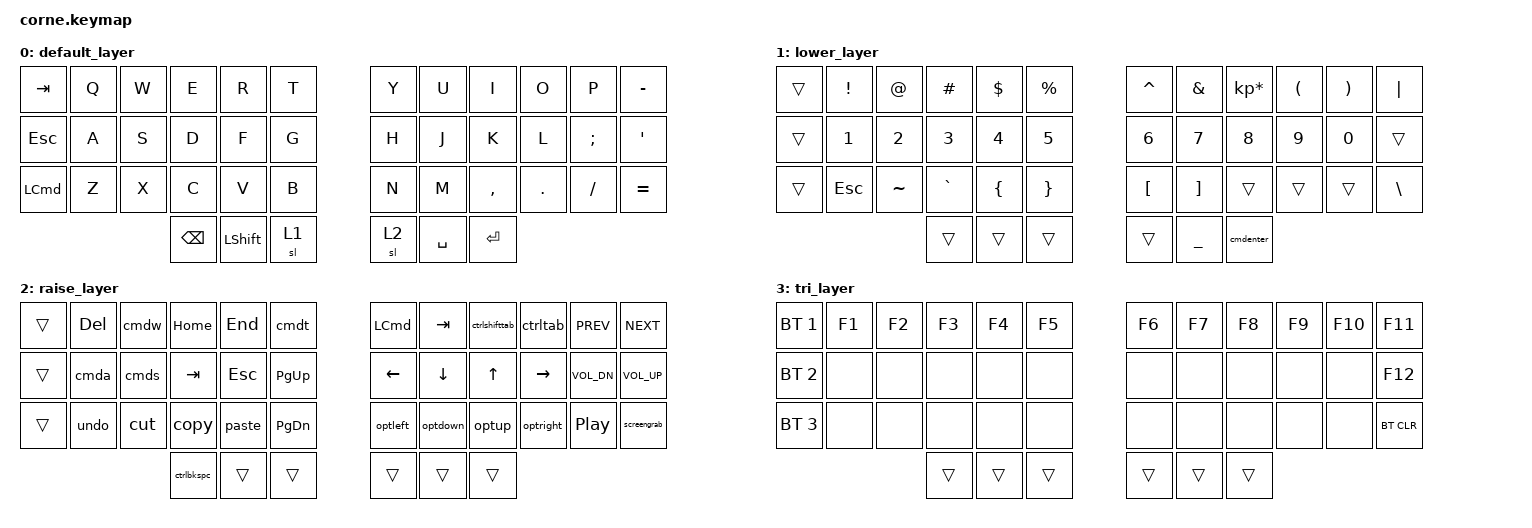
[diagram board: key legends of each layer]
/*
 * Copyright (c) 2020 The ZMK Contributors
 *
 * SPDX-License-Identifier: MIT
 */

#include <behaviors.dtsi>
#include <dt-bindings/zmk/keys.h>
#include <dt-bindings/zmk/bt.h>

/ {
        macros {
                copy: copy {
                        compatible = "zmk,behavior-macro";
                        label = "copy";
                        #binding-cells = <0>;
                        wait-ms = <30>;
                        tap-ms = <40>;
                        bindings  
                                = <&macro_press &kp LCMD>
                                , <&macro_tap &kp C>
                                , <&macro_release &kp LCMD>
                                ;
                        
                }; 

                paste: paste {
                        compatible = "zmk,behavior-macro";
                        label = "paste";
                        #binding-cells = <0>;
                        wait-ms = <30>;
                        tap-ms = <40>;
                        bindings  
                                = <&macro_press &kp LCMD>
                                , <&macro_tap &kp V>
                                , <&macro_release &kp LCMD>
                                ;
                        
                }; 

                cut: cut {
                        compatible = "zmk,behavior-macro";
                        label = "cut";
                        #binding-cells = <0>;
                        wait-ms = <30>;
                        tap-ms = <40>;
                        bindings  
                                = <&macro_press &kp LCMD>
                                , <&macro_tap &kp X>
                                , <&macro_release &kp LCMD>
                                ;
                        
                }; 

                undo: undo {
                        compatible = "zmk,behavior-macro";
                        label = "undo";
                        #binding-cells = <0>;
                        wait-ms = <30>;
                        tap-ms = <40>;
                        bindings  
                                = <&macro_press &kp LCMD>
                                , <&macro_tap &kp Z>
                                , <&macro_release &kp LCMD>
                                ;
                        
                };

                cmda: cmda {
                        compatible = "zmk,behavior-macro";
                        label = "cmda";
                        #binding-cells = <0>;
                        wait-ms = <30>;
                        tap-ms = <40>;
                        bindings  
                                = <&macro_press &kp LCMD>
                                , <&macro_tap &kp A>
                                , <&macro_release &kp LCMD>
                                ;
                        
                };

                cmdw: cmdw {
                        compatible = "zmk,behavior-macro";
                        label = "cmdw";
                        #binding-cells = <0>;
                        wait-ms = <30>;
                        tap-ms = <40>;
                        bindings  
                                = <&macro_press &kp LCMD>
                                , <&macro_tap &kp W>
                                , <&macro_release &kp LCMD>
                                ;
                        
                };

                cmdt: cmdt {
                        compatible = "zmk,behavior-macro";
                        label = "cmdt";
                        #binding-cells = <0>;
                        wait-ms = <30>;
                        tap-ms = <40>;
                        bindings  
                                = <&macro_press &kp LCMD>
                                , <&macro_tap &kp T>
                                , <&macro_release &kp LCMD>
                                ;
                        
                };

                cmds: cmds {
                        compatible = "zmk,behavior-macro";
                        label = "cmds";
                        #binding-cells = <0>;
                        wait-ms = <30>;
                        tap-ms = <40>;
                        bindings  
                                = <&macro_press &kp LCMD>
                                , <&macro_tap &kp S>
                                , <&macro_release &kp LCMD>
                                ;
                        
                };

                optdown: optdown {
                        compatible = "zmk,behavior-macro";
                        label = "optdown";
                        #binding-cells = <0>;
                        wait-ms = <30>;
                        tap-ms = <40>;
                        bindings  
                                = <&macro_press &kp LCTRL>
                                , <&macro_tap &kp PAGE_DOWN>
                                , <&macro_release &kp LCMD>
                                ;
                        
                };

                optup: optup {
                        compatible = "zmk,behavior-macro";
                        label = "optup";
                        #binding-cells = <0>;
                        wait-ms = <30>;
                        tap-ms = <40>;
                        bindings  
                                = <&macro_press &kp LCTRL>
                                , <&macro_tap &kp PAGE_UP>
                                , <&macro_release &kp LCTRL>
                                ;
                        
                };

                optright: optright {
                        compatible = "zmk,behavior-macro";
                        label = "optright";
                        #binding-cells = <0>;
                        wait-ms = <30>;
                        tap-ms = <40>;
                        bindings  
                                = <&macro_press &kp LALT>
                                , <&macro_tap &kp RIGHT>
                                , <&macro_release &kp LALT>
                                ;
                        
                }; 

                optleft: optleft {
                        compatible = "zmk,behavior-macro";
                        label = "optleft";
                        #binding-cells = <0>;
                        wait-ms = <30>;
                        tap-ms = <40>;
                        bindings  
                                = <&macro_press &kp LALT>
                                , <&macro_tap &kp LEFT>
                                , <&macro_release &kp LALT>
                                ;
                        
                }; 
                
                ctrlbkspc: ctrlbkspc {
                        compatible = "zmk,behavior-macro";
                        label = "ctrlbkspc";
                        #binding-cells = <0>;
                        wait-ms = <30>;
                        tap-ms = <40>;
                        bindings  
                                = <&macro_press &kp LCTRL>
                                , <&macro_tap &kp BACKSPACE>
                                , <&macro_release &kp LCTRL>
                                ;
                        
                }; 

                screengrab: screengrab {
                        compatible = "zmk,behavior-macro";
                        label = "screengrab";
                        #binding-cells = <0>;
                        wait-ms = <30>;
                        tap-ms = <40>;
                        bindings  
                                = <&macro_press &kp LCMD &kp LSHIFT>
                                , <&macro_tap &kp 4>
                                , <&macro_release &kp LCMD &kp LSHIFT>
                                ;
                        
                }; 

                cmdenter: cmdenter {
                        compatible = "zmk,behavior-macro";
                        label = "cmdenter";
                        #binding-cells = <0>;
                        wait-ms = <30>;
                        tap-ms = <40>;
                        bindings  
                                = <&macro_press &kp LCMD>
                                , <&macro_tap &kp ENTER>
                                , <&macro_release &kp LCMD>
                                ;
                        
                }; 

                quit: quit {
                        compatible = "zmk,behavior-macro";
                        label = "quit";
                        #binding-cells = <0>;
                        wait-ms = <30>;
                        tap-ms = <40>;
                        bindings  
                                = <&macro_press &kp LCMD>
                                , <&macro_tap &kp Q>
                                , <&macro_release &kp LCMD>
                                ;
                        
                }; 

                ctrltab: ctrltab {
                        compatible = "zmk,behavior-macro";
                        label = "ctrltab";
                        #binding-cells = <0>;
                        wait-ms = <30>;
                        tap-ms = <40>;
                        bindings  
                                = <&macro_press &kp LCTRL>
                                , <&macro_tap &kp TAB>
                                , <&macro_release &kp LCTRL>
                                ;
                        
                }; 

                ctrlshifttab: ctrlshifttab {
                        compatible = "zmk,behavior-macro";
                        label = "ctrlshifttab";
                        #binding-cells = <0>;
                        wait-ms = <30>;
                        tap-ms = <40>;
                        bindings  
                                = <&macro_press &kp LCTRL>
                                , <&macro_press &kp LSHIFT>
                                , <&macro_tap &kp TAB>
                                , <&macro_release &kp LCTRL>
                                , <&macro_release &kp LSHIFT>
                                ;
                        
                }; 

        };

        conditional_layers {
                compatible = "zmk,conditional-layers";
                tri_layer {
                if-layers = <1 2>;
                then-layer = <3>;
                };
        };

        keymap {
                compatible = "zmk,keymap";

                default_layer {
// -----------------------------------------------------------------------------------------
// | TAB  |  Q  |  W  |  E  |  R  |  T  |   |  Y  |  U   |  I  |  O  |  P  |  -   |
// | ESC  |  A  |  S  |  D  |  F  |  G  |   |  H  |  J   |  K  |  L  |  ;  |  '   |
// | CTRL |  Z  |  X  |  C  |  V  |  B  |   |  N  |  M   |  ,  |  .  |  /  |  =   |
//                    |BKSPC|SHIFT| NUM |   | NAV | SPACE|ENTER|
                        bindings = <
   &kp TAB    &kp Q &kp W &kp E     &kp R      &kp T      &kp  Y &kp U     &kp I     &kp O   &kp P    &kp MINUS 
   &kp ESC    &kp A &kp S &kp D     &kp F      &kp G      &kp  H &kp J     &kp K     &kp L   &kp SEMI &kp SQT
   &kp LCMD   &kp Z &kp X &kp C     &kp V      &kp B      &kp  N &kp M     &kp COMMA &kp DOT &kp FSLH &kp EQUAL
                          &kp BKSP  &kp LSHIFT &sl 1      &sl 2  &kp SPACE &kp ENTER
                        >;
                };
                lower_layer {
// -----------------------------------------------------------------------------------------
// |  TAB |  !  |  @  |  #  |  $  |  %  |   |  ^  |  &       |  *  |  (  |  )  |  |   |
// |  ESC |  1  |  2  |  3  |  4  |  5  |   |  6  |  7       |  8  |  9  |  0  |  '   |
// |  CMD | ESC |  ~  |  `  |  {  |  }  |   |  [  |  ]       |  ,  |  .  |  /  |  \   |
//                    |BKSPC|SHIFT|     |   |     |UNDERSCORE|ENTER|
                        bindings = <
   &trans  &kp EXCL &kp AT    &kp HASH  &kp DLLR &kp PRCNT   &kp CARET &kp AMPS  &kp KP_MULTIPLY &kp LPAR &kp RPAR &kp PIPE
   &trans  &kp N1   &kp N2    &kp N3    &kp N4   &kp N5      &kp N6    &kp N7    &kp N8          &kp N9   &kp N0   &trans
   &trans  &kp ESC  &kp TILDE &kp GRAVE &kp LBRC &kp RBRC    &kp LBKT  &kp RBKT  &trans          &trans   &trans   &kp BSLH
                              &trans    &trans   &trans      &trans    &kp UNDER &cmdenter
                        >;
                };

                raise_layer {
// -----------------------------------------------------------------------------------------
// |  TAB | DEL  | ^W  | HOME | END  |  ^T  |   | CMD   |  TAB  | ^_Tab| ^_Tab |  RWND | FFWD|
// |  ESC | ^A   | ^S  | TAB  | ESC  | PG UP|   | LFT   |  DWN  | UP   | RGHT  |  VDWN | VUP |
// |  CMD | UNDO | CUT | COPY | PASTE| PG DN|   | ^LFT  | ^DWN  |^UP   | ^RGHT |  PLAY | SNIP|
//                     |BKSPC |SHIFT|       |   |       | SPACE | ENTER|

                        bindings = <
   &trans &kp DEL  &cmdw &kp HOME   &kp END   &cmdt          &kp LCMD  &kp TAB   &ctrlshifttab &ctrltab   &kp C_PREV       &kp C_NEXT
   &trans &cmda    &cmds &kp TAB    &kp ESC   &kp PG_UP      &kp LEFT  &kp DOWN  &kp UP        &kp RIGHT  &kp C_VOL_DN     &kp C_VOL_UP
   &trans &undo    &cut  &copy      &paste    &kp PG_DN      &optleft  &optdown  &optup        &optright  &kp C_PLAY_PAUSE &screengrab
                         &ctrlbkspc &trans    &trans         &trans    &trans    &trans
                        >;
                };

                tri_layer {
// -----------------------------------------------------------------------------------------
// | BT1  |  F1  |  F2  |  F3  |  F4  |  F5  |   |  F6  |  F7  |  F8  |  F9  |  F10  | F11   |
// | BT2  |      |      |      |      |      |   |      |      |      |      |       | F12   |
// | BT3  |      |      |      |      |      |   |      |      |      |      |       | BTCLR |
//                      | BKSPC| SHIFT|      |   |      | SPACE| ENTER|
                        bindings = <
   &bt BT_SEL 1 &kp F1       &kp F2        &kp F3       &kp F4  &kp F5  &kp F6 &kp F7 &kp F8 &kp F9 &kp F10 &kp F11
   &bt BT_SEL 2 &none        &none         &none        &none   &none   &none  &none  &none  &none  &none   &kp F12
   &bt BT_SEL 3 &none        &none         &none        &none   &none   &none   &none  &none  &none  &none  &bt BT_CLR 
                                     &trans       &trans  &trans  &trans  &trans &trans
                        >;
                };
        };
};
